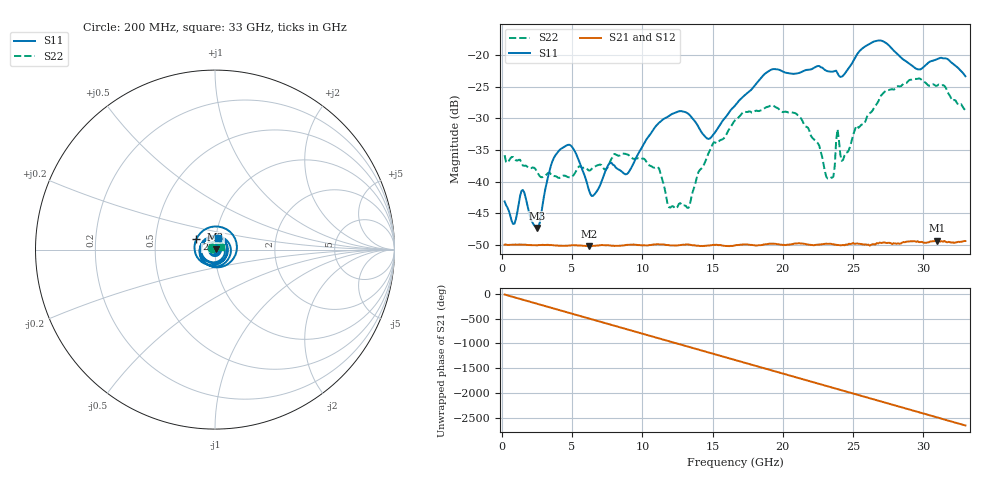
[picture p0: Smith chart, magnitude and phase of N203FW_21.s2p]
# GHZ S RI R 50
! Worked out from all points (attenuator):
!   329 points, 200 MHz to 33 GHz, reference 50 ohm
!   highest |S21| = -49.31 dB at 31 GHz (marker M1); lowest = -50.2 dB at 6.2 GHz (marker M2)
!   lowest |S11| = -47.3 dB at 2.5 GHz (marker M3), VSWR 1.01, Z = 50.4 + j0.252 ohm
!   |S11| at or under -10 dB: start of sweep to end of sweep
!   |S22| runs from -44.2 to -23.7 dB; largest |S21 - S12| = 8.8e-05
!   S11 on the Smith chart (normalised r, x): 200 MHz: 1.01, +0.01; 26 GHz: 0.81, +0.10; 33 GHz: 1.03, +0.14
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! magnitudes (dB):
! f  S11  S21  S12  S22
! 200 MHz  -43.1  -50.0  -49.9  -35.8
! 900 MHz  -46.6  -49.9  -49.9  -36.3
! 1.5 GHz  -41.3  -49.9  -49.9  -37.5
! 2.5 GHz  -47.3  -50.1  -50.0  -38.4
! 3.9 GHz  -35.6  -50.1  -50.1  -39.2
! 5.7 GHz  -37.9  -50.1  -50.1  -37.8
! 6.2 GHz  -41.3  -50.2  -50.2  -38.2
! 9 GHz  -38.6  -50.0  -50.0  -35.8
! 11.2 GHz  -30.7  -49.9  -49.9  -37.9
! 11.9 GHz  -29.6  -50.0  -50.0  -44.0
! 13.3 GHz  -29.3  -49.9  -50.0  -44.1
! 14.7 GHz  -33.3  -50.1  -50.1  -35.6
! 16.6 GHz  -28.0  -50.0  -50.1  -30.3
! 19.3 GHz  -22.2  -49.8  -49.8  -28.0
! 22.1 GHz  -22.2  -50.0  -50.0  -33.1
! 23.5 GHz  -22.6  -49.9  -49.8  -39.4
! 23.9 GHz  -22.9  -50.0  -50.0  -31.7
! 24.2 GHz  -23.4  -50.0  -50.0  -36.7
! 26 GHz  -18.5  -50.0  -49.9  -29.7
! 27.6 GHz  -18.6  -49.7  -49.7  -25.5
! 31 GHz  -20.6  -49.3  -49.3  -24.8
! 33 GHz  -23.4  -49.4  -49.4  -28.7
